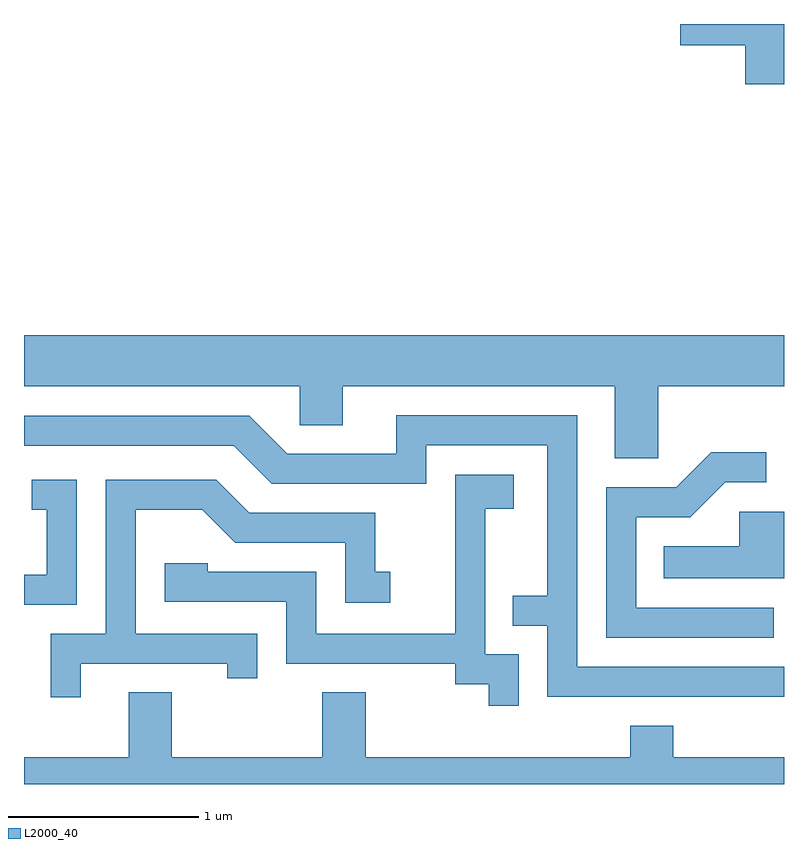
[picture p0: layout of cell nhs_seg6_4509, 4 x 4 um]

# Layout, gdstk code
import gdstk
lib = gdstk.Library(unit=1e-6, precision=1e-09)
def P(c, l, *ps):  # polygons
    for p in ps: c.add(gdstk.Polygon(p, *l))
L2000_40 = (2000, 40)

nhs_seg6_4509 = lib.new_cell('nhs_seg6_4509')
P(nhs_seg6_4509, L2000_40, [(327.611,1554.162),(327.066,1554.162),(327.066,1554.051),(327.406,1554.051),(327.406,1553.846),(327.611,1553.846)],
  [(326.949,1552.256),(327.611,1552.256),(327.611,1552.524),(323.611,1552.524),(323.611,1552.256),(325.061,1552.256),(325.061,1552.051),(325.289,1552.051),(325.289,1552.256),(326.721,1552.256),(326.721,1551.876),(326.949,1551.876)],
  [(327.611,1550.779),(326.524,1550.779),(326.524,1552.104),(325.571,1552.104),(325.571,1551.899),(324.997,1551.899),(324.797,1552.099),(323.611,1552.099),(323.611,1551.941),(324.714,1551.941),(324.914,1551.741),(325.729,1551.741),(325.729,1551.946),(326.366,1551.946),(326.366,1551.154),(326.183,1551.154),(326.183,1550.996),(326.366,1550.996),(326.366,1550.621),(327.611,1550.621)],
  [(327.558,1551.089),(326.834,1551.089),(326.834,1551.566),(327.117,1551.566),(327.302,1551.751),(327.518,1551.751),(327.518,1551.909),(327.229,1551.909),(327.044,1551.724),(326.676,1551.724),(326.676,1550.931),(327.558,1550.931)],
  [(326.214,1550.844),(326.039,1550.844),(326.039,1551.611),(326.189,1551.611),(326.189,1551.789),(325.881,1551.789),(325.881,1550.954),(325.149,1550.954),(325.149,1551.279),(324.579,1551.279),(324.579,1551.324),(324.351,1551.324),(324.351,1551.121),(324.991,1551.121),(324.991,1550.796),(325.881,1550.796),(325.881,1550.686),(326.056,1550.686),(326.056,1550.573),(326.214,1550.573)],
  [(323.889,1551.764),(323.653,1551.764),(323.653,1551.606),(323.731,1551.606),(323.731,1551.264),(323.611,1551.264),(323.611,1551.106),(323.889,1551.106)],
  [(323.909,1550.796),(324.681,1550.796),(324.681,1550.718),(324.839,1550.718),(324.839,1550.954),(324.199,1550.954),(324.199,1551.606),(324.549,1551.606),(324.724,1551.431),(325.301,1551.431),(325.301,1551.116),(325.538,1551.116),(325.538,1551.279),(325.459,1551.279),(325.459,1551.589),(324.797,1551.589),(324.622,1551.764),(324.041,1551.764),(324.041,1550.954),(323.751,1550.954),(323.751,1550.618),(323.909,1550.618)],
  [(327.611,1551.594),(327.376,1551.594),(327.376,1551.414),(326.978,1551.414),(326.978,1551.246),(327.611,1551.246)],
  [(327.611,1550.304),(327.029,1550.304),(327.029,1550.469),(326.801,1550.469),(326.801,1550.304),(325.409,1550.304),(325.409,1550.644),(325.181,1550.644),(325.181,1550.304),(324.389,1550.304),(324.389,1550.644),(324.161,1550.644),(324.161,1550.304),(323.611,1550.304),(323.611,1550.162),(327.611,1550.162)])

lib.write_gds('nhs_seg6_4509.gds')
